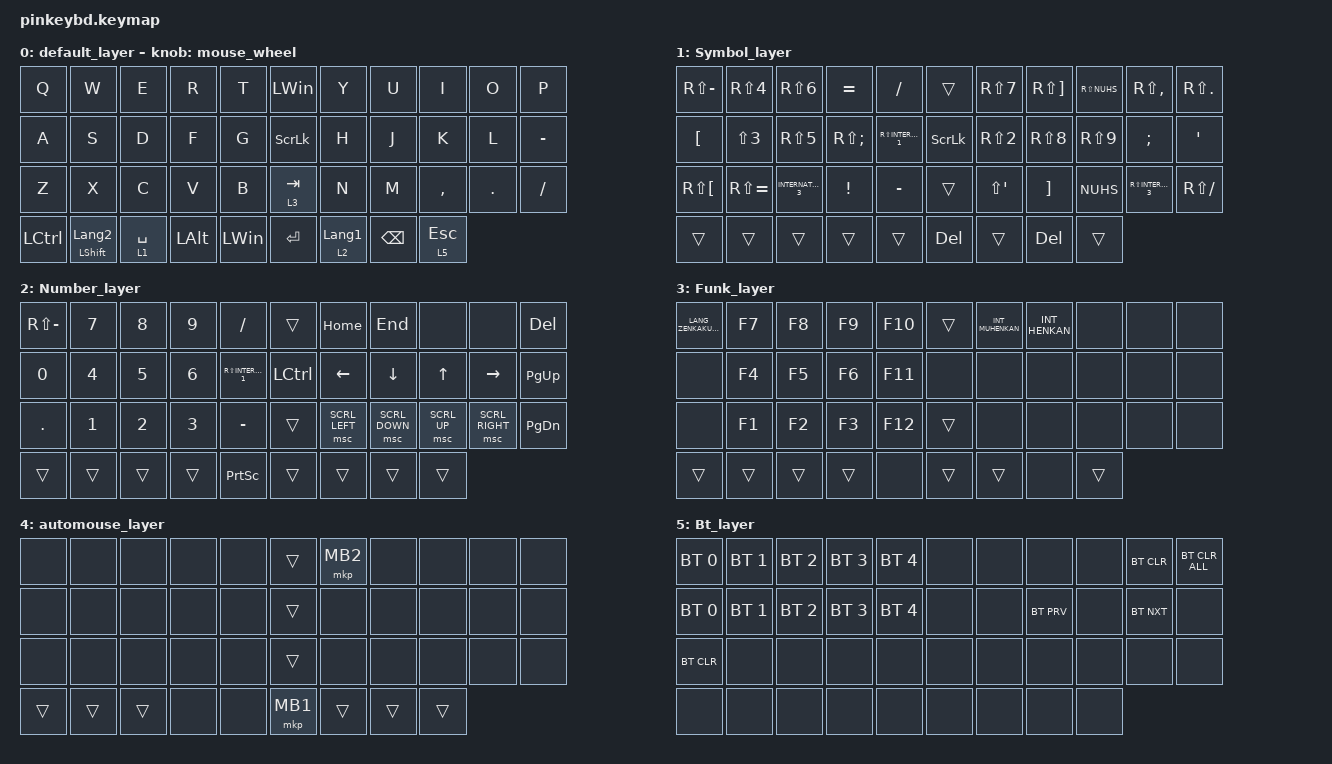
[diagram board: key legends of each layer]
#include <input/processors.dtsi>
#include <behaviors.dtsi>
#include <dt-bindings/zmk/bt.h>
#include <dt-bindings/zmk/keys.h>
#include <dt-bindings/zmk/pointing.h>

#define ZMK_POINTING_DEFAULT_SCRL_VAL 80

&lt { tapping-term-ms = <140>; };

// &mkp_input_listener { input-processors = <&zip_temp_layer 4 10000>; };

/ {
    behaviors {
        rot_kp: sensor_rotate_kp {
            compatible = "zmk,behavior-sensor-rotate-var";
            #sensor-binding-cells = <2>;
            bindings = <&kp>, <&kp>;
        };

        mouse_wheel: mouse_wheel {
            compatible = "zmk,behavior-sensor-rotate";
            label = "MOUSE_WHEEL";
            #sensor-binding-cells = <0>;
            bindings = <&msc SCRL_DOWN>, <&msc SCRL_UP>;

            tap-ms = <20>;
        };
    };

    keymap {
        compatible = "zmk,keymap";

        // ---------------------------------------------------------------------------------------------------------------------------------------------------------------------------------------------------------------
        // |        /       |       ,       |       .       |      -        |      ;       |    ESC         |                   |           |       L      |       R       |       D       |       Y       |      P      |
        // |        A       |       O       |       E       |      I        |      U       |    SCROLLLOCK  |                   |           |       G      |       N       |       T       |       S       |      K      |
        // |        X       |       C       |       V       |      W        |      Q       |    TAB         |                   |     F     |       J      |       H       |       M       |       B       |      Z      |
        // |    L_SHIFT     |               |               |   LOWER / Jp  |    Space     |    LEFT_WIN    |                   |  R_SHIFT  |      ENTER   |  LOWER2 / Ja  |               |               |   FUN_L     |
        // ---------------------------------------------------------------------------------------------------------------------------------------------------------------------------------------------------------------

        default_layer {
            bindings = <
&kp Q      &kp W                      &kp E        &kp R         &kp T         &kp LEFT_WIN    &kp Y             &kp U          &kp I         &kp O       &kp P
&kp A      &kp S                      &kp D        &kp F         &kp G         &kp SCROLLLOCK  &kp H             &kp J          &kp K         &kp L       &kp MINUS
&kp Z      &kp X                      &kp C        &kp V         &kp B         &lt 3 TAB       &kp N             &kp M          &kp COMMA     &kp PERIOD  &kp SLASH
&kp LCTRL  &mt LEFT_SHIFT LANGUAGE_2  &lt 1 SPACE  &kp LEFT_ALT  &kp LEFT_WIN  &kp ENTER       &lt 2 LANGUAGE_1  &kp BACKSPACE  &lt 5 ESCAPE
            >;

            sensor-bindings = <&mouse_wheel>;
        };

        // ----------------------------------------------------------------------------------------------------------------------------------------------------------------------------------------------------------------
        // |    /           |       ,       |       END     |     （        |      ”        |    PAUSE_BREAK|                  |            |      （       |       ）     |        ↑      |        [      |      ]      |
        // |    HOME        |       C_SAVE  |       END     |       ）      |       U       |    SCROLLLOCK |                  |            |   Backspace   |       ←      |        ↓      |        →      |     DEL     |
        // |    UNDO        |       CUT     |       COPY    |       PASTE   |       Q       |    TAB        |                  |   PSCRN    |    ' / "      |    = / +     |    \ / |      |    ` / ~      |    INS      |
        // |    L_SHIFT     |               |               |       none    |    SPACE      |    LALT       |                  |   RSHIFT   |   ENTER       |       FUN_L  |               |               |    RCTRL    |
        // ----------------------------------------------------------------------------------------------------------------------------------------------------------------------------------------------------------------

        Symbol_layer {
            bindings = <
&kp RS(MINUS)  &kp RS(NUMBER_4)  &kp RS(NUMBER_6)     &kp EQUAL          &kp SLASH                &trans          &kp RS(N7)        &kp RS(RBKT)  &kp RS(NUHS)  &kp RS(COMMA)            &kp RS(PERIOD)
&kp LBKT       &kp LS(NUMBER_3)  &kp RS(N5)           &kp RS(SEMICOLON)  &kp RS(INTERNATIONAL_1)  &kp SCROLLLOCK  &kp RS(NUMBER_2)  &kp RS(N8)    &kp RS(N9)    &kp SEMICOLON            &kp SQT
&kp RS(LBKT)   &kp RS(EQUAL)     &kp INTERNATIONAL_3  &kp EXCLAMATION    &kp MINUS                &trans          &kp LS(SQT)       &kp RBKT      &kp NUHS      &kp RS(INTERNATIONAL_3)  &kp RS(SLASH)
&trans         &trans            &trans               &trans             &trans                   &kp DELETE      &trans            &kp DELETE    &trans
            >;
        };

        // -------------------------------------------------------------------------------------------------------------------------------------------------------------------------------------------------------------
        // |    /           |       ,        |       END     |       {       |       ’      |    ESC        |                  |            |      L      |      R         |    PG_UP      |     {       |      }      |
        // |    HOME        |       C_SAVE   |       END     |       }       |       U      |    LCTRL      |                  |            |  Backspace  |    HOME        |    PG_DN      |    END      |    DEL      |
        // |    UNDO        |       CUT      |       COPY    |       PASTE   |       Q      |    TAB        |                  |      F     |    ' / "    |    = / +       |    \ / |      |    ` / ~    |    INS      |
        // |    L_SHIFT     |                |               |       BT_L    |      SPACE   |    LALT       |                  |   ENTER    |    none     |   R_SHIFT      |               |             |   R_SHIFT   |
        // -------------------------------------------------------------------------------------------------------------------------------------------------------------------------------------------------------------

        Number_layer {
            bindings = <
&kp RS(MINUS)  &kp N7  &kp N8  &kp N9  &kp SLASH                &trans     &kp HOME        &kp END         &none         &none            &kp DELETE
&kp N0         &kp N4  &kp N5  &kp N6  &kp RS(INTERNATIONAL_1)  &kp LCTRL  &kp LEFT_ARROW  &kp DOWN_ARROW  &kp UP_ARROW  &kp RIGHT_ARROW  &kp PAGE_UP
&kp PERIOD     &kp N1  &kp N2  &kp N3  &kp MINUS                &trans     &msc SCRL_LEFT  &msc SCRL_DOWN  &msc SCRL_UP  &msc SCRL_RIGHT  &kp PAGE_DOWN
&trans         &trans  &trans  &trans  &kp PSCRN                &trans     &trans          &trans          &trans
            >;
        };

        // --------------------------------------------------------------------------------------------------------------------------------------------------------------------------------------------------------------
        // |        1       |      2        |       3       |       4       |       5       |    ESC        |               |            |      6       |      7        |       8       |       9       |       0       |
        // |        !       |      @        |       #       |       $       |       %       |    none       |               |            |      ^       |      &        |       *       |       (       |       )       | 
        // |        F1      |     F2        |     F3        |       F4      |       F5      |    TAB        |               |     F11    |    ' / "     |    = / +      |    \ / |      |    ` / ~      |       INS     |
        // |    L_SHIFT     |               |               | En / LOWER    |    Space      |    LSIHT      |               |   R_SHIFT  |      ENTER   |     none      |               |               |       R_SHIFT |
        // --------------------------------------------------------------------------------------------------------------------------------------------------------------------------------------------------------------

        Funk_layer {
            bindings = <
&kp LANG_ZENKAKUHANKAKU  &kp F7  &kp F8  &kp F9  &kp F10  &trans  &kp INT_MUHENKAN  &kp INT_HENKAN  &none   &none  &none
&none                    &kp F4  &kp F5  &kp F6  &kp F11  &none   &none             &none           &none   &none  &none
&none                    &kp F1  &kp F2  &kp F3  &kp F12  &trans  &none             &none           &none   &none  &none
&trans                   &trans  &trans  &trans  &none    &trans  &trans            &none           &trans
            >;
        };

        // ---------------------------------------------------------------------------------------------------------------------------------------------------------------------------------
        // |     F1      |     F2     |     F3     |     F4     |    F5      |    none    |                |            |    F6      |    F7      |    F8      |    F9       |     F10     |
        // |     F11     |     F12    |     F13    |     F14    |    F15     |    none    |                |   none     |    F16     |    F17     |    F18     |    F19      |     F20     |
        // |     none    |    none    |    none    |    none    |   none     |    none    |                |   none     |    none    |    none    |    none    |    none     |     none    |
        // |     L_SHIFT |    none    |    none    |    none    |   none     |    none    |                |   none     |    none    |    none    |    none    |    none     |     R_SHIFT |
        // ---------------------------------------------------------------------------------------------------------------------------------------------------------------------------------

        automouse_layer {
            bindings = <
&none   &none   &none   &none  &none  &trans    &mkp MB2  &none   &none   &none  &none
&none   &none   &none   &none  &none  &trans    &none     &none   &none   &none  &none
&none   &none   &none   &none  &none  &trans    &none     &none   &none   &none  &none
&trans  &trans  &trans  &none  &none  &mkp MB1  &trans    &trans  &trans
            >;
        };

        // --------------------------------------------------------------------------------------------------------------------------------------------------------------------------------
        // |    none    |    none    |    none    |    none    |   none     |    none    |                  |            |    none    |    none    |    none    |   none     |    none    |
        // |  BT_SEL 0  |  BT_SEL 1  |  BT_SEL 2  |  BT_SEL 3  |   none     |    none    |                  |            |    none    |    none    |    none    |   BT_CLR   | BT_CLR_ALL |
        // |    none    |    none    |    none    |    none    |   none     |    none    |                  |    none    |    none    |   BT_PRV   |    none    |   BT_NXT   |    none    |
        // |    none    |    none    |    none    |    none    |   none     |    none    |                  |    none    |    none    |    none    |    none    |   none     |    none    |
        // --------------------------------------------------------------------------------------------------------------------------------------------------------------------------------

        Bt_layer {
            bindings = <
&bt BT_SEL 0  &bt BT_SEL 1  &bt BT_SEL 2  &bt BT_SEL 3  &bt BT_SEL 4  &none  &none  &none       &none  &bt BT_CLR  &bt BT_CLR_ALL
&bt BT_SEL 0  &bt BT_SEL 1  &bt BT_SEL 2  &bt BT_SEL 3  &bt BT_SEL 4  &none  &none  &bt BT_PRV  &none  &bt BT_NXT  &none
&bt BT_CLR    &none         &none         &none         &none         &none  &none  &none       &none  &none       &none
&none         &none         &none         &none         &none         &none  &none  &none       &none
            >;
        };
    };
};
